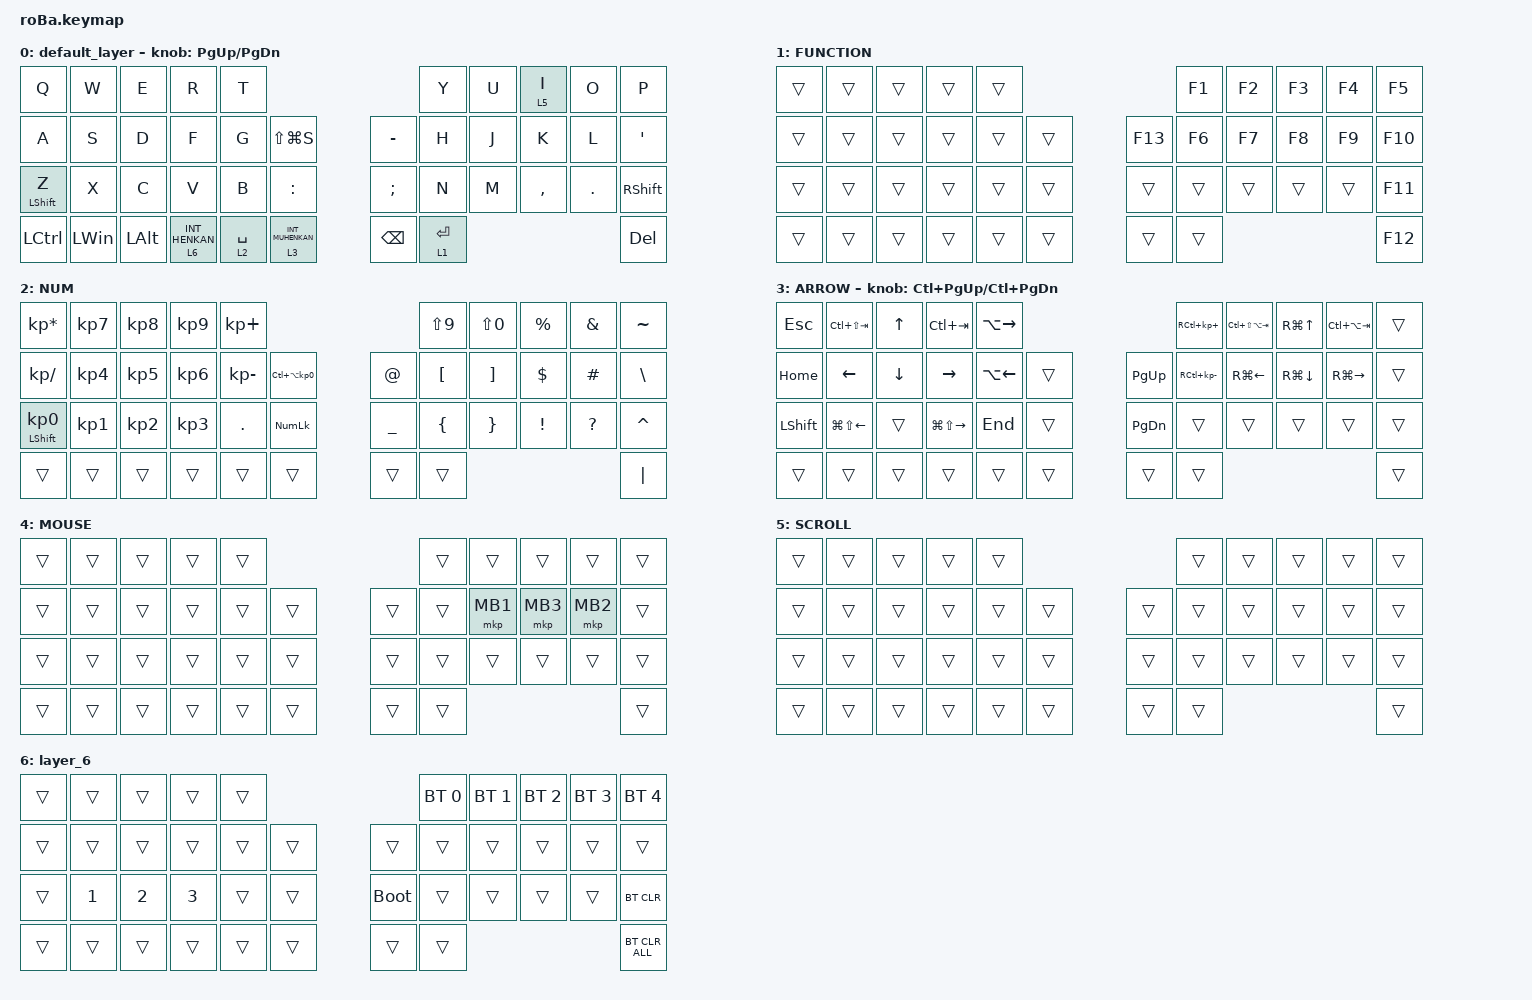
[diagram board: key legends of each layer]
#include <behaviors.dtsi>
#include <dt-bindings/zmk/bt.h>
#include <dt-bindings/zmk/keys.h>
#include <dt-bindings/zmk/pointing.h>

&mt {
    flavor = "balanced";
    quick-tap-ms = <0>;
};

&trackball {
    automouse-layer = <4>;
    scroll-layers = <5>;

    // arrows {
    //     layers = <3>;
    //     bindings =
    //         <&kp RIGHT_ARROW>,
    //         <&kp LEFT_ARROW>,
    //         <&kp UP_ARROW>,
    //         <&kp DOWN_ARROW>;
    //     tick = <10>;
    //     wait-ms = <5>;
    //     tap-ms = <5>;
    // };
};

/ {
    combos {
        compatible = "zmk,combos";

        tab {
            bindings = <&kp TAB>;
            key-positions = <11 12>;
        };

        shift_tab {
            bindings = <&kp LS(TAB)>;
            key-positions = <12 13>;
        };

        muhennkann {
            bindings = <&to_layer_0 INT_MUHENKAN>;
            key-positions = <11 10>;
        };

        double_quotation {
            bindings = <&kp DOUBLE_QUOTES>;
            key-positions = <20 21>;
        };

        eq {
            bindings = <&kp EQUAL>;
            key-positions = <24 25>;
        };
    };

    macros {
        to_layer_0: to_layer_0 {
            compatible = "zmk,behavior-macro-one-param";
            #binding-cells = <1>;
            bindings = <&to 0 &macro_param_1to1 &kp MACRO_PLACEHOLDER>;
            label = "TO_LAYER_0";
        };
    };

    behaviors {
        lt_to_layer_0: lt_to_layer_0 {
            compatible = "zmk,behavior-hold-tap";
            label = "LAYER_TAP_TO_0";
            bindings = <&mo>, <&to_layer_0>;

            #binding-cells = <2>;
            tapping-term-ms = <200>;
        };
    };

    keymap {
        compatible = "zmk,keymap";

        default_layer {
            bindings = <
&kp Q             &kp W         &kp E         &kp R                        &kp T                                                          &kp Y        &kp U  &lt 5 I    &kp O    &kp P
&kp A             &kp S         &kp D         &kp F                        &kp G        &kp LS(LG(S))                      &kp MINUS      &kp H        &kp J  &kp K      &kp L    &kp APOS
&mt LEFT_SHIFT Z  &kp X         &kp C         &kp V                        &kp B        &kp COLON                          &kp SEMICOLON  &kp N        &kp M  &kp COMMA  &kp DOT  &kp RSHIFT
&kp LCTRL         &kp LEFT_WIN  &kp LEFT_ALT  &lt_to_layer_0 6 INT_HENKAN  &lt 2 SPACE  &lt_to_layer_0 3 INT_MUHENKAN      &kp BACKSPACE  &lt 1 ENTER                             &kp DEL
            >;

            sensor-bindings = <&inc_dec_kp PG_UP PAGE_DOWN>;
        };

        FUNCTION {
            bindings = <
&trans  &trans  &trans  &trans  &trans                       &kp F1  &kp F2  &kp F3  &kp F4  &kp F5
&trans  &trans  &trans  &trans  &trans  &trans      &kp F13  &kp F6  &kp F7  &kp F8  &kp F9  &kp F10
&trans  &trans  &trans  &trans  &trans  &trans      &trans   &trans  &trans  &trans  &trans  &kp F11
&trans  &trans  &trans  &trans  &trans  &trans      &trans   &trans                          &kp F12
            >;
        };

        NUM {
            bindings = <
&kp KP_MULTIPLY             &kp KP_NUMBER_7  &kp KP_NUMBER_8  &kp KP_NUMBER_9  &kp KP_PLUS                                             &kp LS(NUMBER_9)  &kp LS(NUMBER_0)  &kp PERCENT      &kp AMPERSAND  &kp TILDE
&kp KP_SLASH                &kp KP_NUMBER_4  &kp KP_NUMBER_5  &kp KP_NUMBER_6  &kp KP_MINUS  &kp LC(LA(KP_NUMBER_0))      &kp AT_SIGN  &kp LBKT          &kp RBKT          &kp DOLLAR       &kp HASH       &kp BACKSLASH
&mt LEFT_SHIFT KP_NUMBER_0  &kp KP_NUMBER_1  &kp KP_NUMBER_2  &kp KP_NUMBER_3  &kp PERIOD    &kp KP_NUMLOCK               &kp UNDER    &kp LBRC          &kp RBRC          &kp EXCLAMATION  &kp QUESTION   &kp CARET
&trans                      &trans           &trans           &trans           &trans        &trans                       &trans       &trans                                                              &kp PIPE
            >;
        };

        ARROW {
            bindings = <
&kp ESCAPE      &kp LC(LS(TAB))         &kp UP_ARROW    &kp LC(TAB)              &kp LA(RIGHT_ARROW)                             &kp RC(KP_PLUS)      &kp LC(LS(LA(TAB)))  &kp RG(UP_ARROW)    &kp LC(LA(TAB))      &trans
&kp HOME        &kp LEFT_ARROW          &kp DOWN_ARROW  &kp RIGHT_ARROW          &kp LA(LEFT_ARROW)   &trans      &kp PAGE_UP    &kp RC(KP_SUBTRACT)  &kp RG(LEFT_ARROW)   &kp RG(DOWN_ARROW)  &kp RG(RIGHT_ARROW)  &trans
&kp LEFT_SHIFT  &kp LG(LS(LEFT_ARROW))  &trans          &kp LG(LS(RIGHT_ARROW))  &kp END              &trans      &kp PAGE_DOWN  &trans               &trans               &trans              &trans               &trans
&trans          &trans                  &trans          &trans                   &trans               &trans      &trans         &trans                                                                             &trans
            >;

            sensor-bindings = <&inc_dec_kp LC(PAGE_UP) LC(PAGE_DOWN)>;
        };

        MOUSE {
            bindings = <
&trans  &trans  &trans  &trans  &trans                      &trans  &trans    &trans    &trans    &trans
&trans  &trans  &trans  &trans  &trans  &trans      &trans  &trans  &mkp MB1  &mkp MB3  &mkp MB2  &trans
&trans  &trans  &trans  &trans  &trans  &trans      &trans  &trans  &trans    &trans    &trans    &trans
&trans  &trans  &trans  &trans  &trans  &trans      &trans  &trans                                &trans
            >;
        };

        SCROLL {
            bindings = <
&trans  &trans  &trans  &trans  &trans                      &trans  &trans  &trans  &trans  &trans
&trans  &trans  &trans  &trans  &trans  &trans      &trans  &trans  &trans  &trans  &trans  &trans
&trans  &trans  &trans  &trans  &trans  &trans      &trans  &trans  &trans  &trans  &trans  &trans
&trans  &trans  &trans  &trans  &trans  &trans      &trans  &trans                          &trans
            >;
        };

        layer_6 {
            bindings = <
&trans  &trans        &trans        &trans        &trans                           &bt BT_SEL 0  &bt BT_SEL 1  &bt BT_SEL 2  &bt BT_SEL 3  &bt BT_SEL 4
&trans  &trans        &trans        &trans        &trans  &trans      &trans       &trans        &trans        &trans        &trans        &trans
&trans  &kp NUMBER_1  &kp NUMBER_2  &kp NUMBER_3  &trans  &trans      &bootloader  &trans        &trans        &trans        &trans        &bt BT_CLR
&trans  &trans        &trans        &trans        &trans  &trans      &trans       &trans                                                  &bt BT_CLR_ALL
            >;
        };
    };
};
